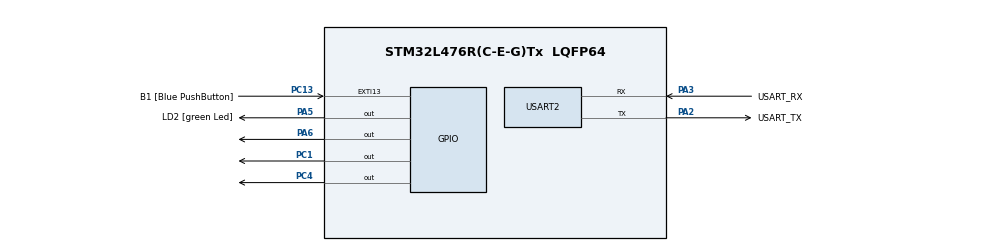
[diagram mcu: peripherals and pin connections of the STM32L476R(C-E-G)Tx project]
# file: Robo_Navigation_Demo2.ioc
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Dma.Request0=USART2_RX
Dma.USART2_RX.0.Direction=DMA_PERIPH_TO_MEMORY
Dma.USART2_RX.0.Instance=DMA1_Channel6
Dma.USART2_RX.0.MemDataAlignment=DMA_MDATAALIGN_BYTE
Dma.USART2_RX.0.MemInc=DMA_MINC_ENABLE
Dma.USART2_RX.0.Mode=DMA_CIRCULAR
Dma.USART2_RX.0.PeriphDataAlignment=DMA_PDATAALIGN_BYTE
Dma.USART2_RX.0.PeriphInc=DMA_PINC_DISABLE
Dma.USART2_RX.0.Priority=DMA_PRIORITY_LOW
Mcu.Family=STM32L4
Mcu.Name=STM32L476R(C-E-G)Tx
Mcu.Package=LQFP64
NVIC.DMA1_Channel6_IRQn=true\:0\:0\:false\:false\:true\:false\:true\:true
NVIC.PriorityGroup=NVIC_PRIORITYGROUP_4
NVIC.USART2_IRQn=true\:0\:0\:false\:false\:true\:true\:true\:true
PA13\ (JTMS-SWDIO).GPIO_Label=TMS
PA13\ (JTMS-SWDIO).Mode=Serial_Wire
PA13\ (JTMS-SWDIO).Signal=SYS_JTMS-SWDIO
PA14\ (JTCK-SWCLK).GPIO_Label=TCK
PA14\ (JTCK-SWCLK).Mode=Serial_Wire
PA14\ (JTCK-SWCLK).Signal=SYS_JTCK-SWCLK
PA2.GPIO_Label=USART_TX
PA2.GPIO_Mode=GPIO_MODE_AF_PP
PA2.GPIO_PuPd=GPIO_NOPULL
PA2.GPIO_Speed=GPIO_SPEED_FREQ_VERY_HIGH
PA2.Mode=Asynchronous
PA2.Signal=USART2_TX
PA3.GPIO_Label=USART_RX
PA3.GPIO_Mode=GPIO_MODE_AF_PP
PA3.GPIO_PuPd=GPIO_NOPULL
PA3.GPIO_Speed=GPIO_SPEED_FREQ_VERY_HIGH
PA3.Mode=Asynchronous
PA3.Signal=USART2_RX
PA5.GPIO_Label=LD2 [green Led]
PA5.GPIO_ModeDefaultOutputPP=GPIO_MODE_OUTPUT_PP
PA5.GPIO_PuPd=GPIO_NOPULL
PA5.GPIO_Speed=GPIO_SPEED_FREQ_LOW
PA5.Signal=GPIO_Output
PA6.Signal=GPIO_Output
PB3\ (JTDO-TRACESWO).GPIO_Label=SWO
PB3\ (JTDO-TRACESWO).Signal=SYS_JTDO-SWO
PC1.Signal=GPIO_Output
PC13.GPIO_Label=B1 [Blue PushButton]
PC13.GPIO_ModeDefaultEXTI=GPIO_MODE_IT_FALLING
PC13.GPIO_PuPd=GPIO_NOPULL
PC13.Signal=GPXTI13
PC14-OSC32_IN\ (PC14).Mode=LSE-External-Oscillator
PC14-OSC32_IN\ (PC14).Signal=RCC_OSC32_IN
PC15-OSC32_OUT\ (PC15).Mode=LSE-External-Oscillator
PC15-OSC32_OUT\ (PC15).Signal=RCC_OSC32_OUT
PC4.Signal=GPIO_Output
PH0-OSC_IN\ (PH0).Signal=RCC_OSC_IN
PH1-OSC_OUT\ (PH1).Signal=RCC_OSC_OUT
ProjectManager.HeapSize=0x200
ProjectManager.StackSize=0x400
ProjectManager.TargetToolchain=STM32CubeIDE
RCC.ADCFreq_Value=64000000
RCC.AHBFreq_Value=80000000
RCC.APB1Freq_Value=80000000
RCC.APB1TimFreq_Value=80000000
RCC.APB2Freq_Value=80000000
RCC.APB2TimFreq_Value=80000000
RCC.CortexFreq_Value=80000000
RCC.HCLKFreq_Value=80000000
RCC.HSE_VALUE=8000000
RCC.HSI_VALUE=16000000
RCC.MSI_VALUE=4000000
RCC.PLLN=10
RCC.PLLSourceVirtual=RCC_PLLSOURCE_HSI
RCC.PREFETCH_ENABLE=1
RCC.SYSCLKFreq_VALUE=80000000
RCC.SYSCLKSource=RCC_SYSCLKSOURCE_PLLCLK
RCC.USBFreq_Value=64000000
RCC.VCOOutputFreq_Value=160000000
TIM2.Prescaler=79
USART2.VirtualMode-Asynchronous=VM_ASYNC
VP_TIM2_VS_ClockSourceINT.Mode=Internal
board=NUCLEO-L476RG

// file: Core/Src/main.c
/* USER CODE BEGIN Header */
/**
 ******************************************************************************
 * @file           : main.c
 * @brief          : Main program body
 ******************************************************************************
 * @attention
 *
 * Copyright (c) 2025 STMicroelectronics.
 * All rights reserved.
 *
 * This software is licensed under terms that can be found in the LICENSE file
 * in the root directory of this software component.
 * If no LICENSE file comes with this software, it is provided AS-IS.
 *
 ******************************************************************************
 */
/* USER CODE END Header */
#include "main.h"
#include <stdio.h>

/* USER CODE BEGIN Includes */
// === UART DMA Constants ===
#define UART_RX_BUFFER_SIZE 256
#define LINE_BUFFER_SIZE 128

// === Buffers and State ===
uint8_t uart_dma_rx_buffer[UART_RX_BUFFER_SIZE];
char line_buffer[LINE_BUFFER_SIZE];
uint16_t line_pos = 0;
volatile uint16_t old_pos = 0;

// === Temporary Pin Definitions (to silence compiler) ===
#define AIN1 GPIO_PIN_1
#define BIN1 GPIO_PIN_4
#define STBY_Port GPIOA
#define STBY GPIO_PIN_6

// === External Peripherals (defined in auto-gen files) ===
extern UART_HandleTypeDef huart2;
extern TIM_HandleTypeDef htim2;

// === Optional Dummy Variable (for debug output) ===

/* USER CODE END Includes */

TIM_HandleTypeDef htim2;

UART_HandleTypeDef huart2;
DMA_HandleTypeDef hdma_usart2_rx;

/* USER CODE BEGIN PV */
float Kp = 1.5, Ki = 0.0, Kd = 0.2;
float prev_error = 0, integral = 0;
float target_distance = 100.0;   // Target distance in cm
float current_distance = 0.0;    // Measured UWB distance
float distance_tolerance = 5.0;  // Acceptable error
uint8_t uart_rx_buffer[100];     // UART receive buffer

int drove = 0;
int start = 1;
float start_pwm = 50;
float current_pwm = 0;
uint8_t txt_Buffer[100];
uint8_t rx_buffer [100];
uint8_t rx_index;
uint8_t rx_byte;
uint8_t transfer_clpt;
uint16_t new_pos;

/* USER CODE END PV */

void SystemClock_Config(void);
static void MX_GPIO_Init(void);
static void MX_DMA_Init(void);
static void MX_USART2_UART_Init(void);
static void MX_TIM2_Init(void);
/* USER CODE BEGIN PFP */
void print_debug(const char *msg);
void process_uart_data(void);
void parse_uart_block(uint8_t *data, uint16_t len);
void mainBegin(void);
void mainEnd(void);
void infiniteWhileLoop(void);
/* USER CODE END PFP */

/* USER CODE BEGIN 0 */
void print_debug(const char *msg) {
	HAL_UART_Transmit(&huart2, (uint8_t*) msg, strlen(msg), HAL_MAX_DELAY);
}

void mainBegin(void) {
	HAL_GPIO_WritePin(GPIOC, AIN1, GPIO_PIN_RESET);
	HAL_GPIO_WritePin(GPIOC, BIN1, GPIO_PIN_RESET);
	HAL_GPIO_WritePin(STBY_Port, STBY, GPIO_PIN_SET);
	HAL_TIM_PWM_Start(&htim2, TIM_CHANNEL_1);
	HAL_TIM_PWM_Start(&htim2, TIM_CHANNEL_3);
	__HAL_TIM_SET_COMPARE(&htim2, TIM_CHANNEL_1, 0);
	__HAL_TIM_SET_COMPARE(&htim2, TIM_CHANNEL_3, 0);
}

void mainEnd(void) {
	// placeholder
}

void infiniteWhileLoop(void) {
	process_uart_data();
}

void handle_button_press(uint16_t GPIO_Pin) {
	if (GPIO_Pin == GPIO_PIN_13 && start == 0) {
		start = 1;
		drove = 0;
		current_pwm = start_pwm;
	} else if (GPIO_Pin == GPIO_PIN_13 && start == 1) {
		start = 0;
		current_pwm = 0;
	}
}

int parse_uart_block(void) {
//    for (uint16_t i = 0; i < len; i++)
//    {
//        char c = data[i];
//
//        if (c == '\n') // End of message
//        {
//            line_buffer[line_pos] = '\0';
//
//            // Extract range value
//            char *start = strstr(line_buffer, "range:(");
//            if (start)
//            {
//                start += strlen("range:(");
//                int range_val = atoi(start);
//
//                // Print value to serial (adjust huart1 if needed)
//                char msg[64];
//                snprintf(msg, sizeof(msg), "Parsed Range: %d\r\n", range_val);
//                HAL_UART_Transmit(&huart2, (uint8_t*)msg, strlen(msg), HAL_MAX_DELAY);
//            }
//
//            line_pos = 0;  // Reset for next line
//        }
//        else if (line_pos < LINE_BUFFER_SIZE - 1)
//        {
//            line_buffer[line_pos++] = c;
//        }
//        else
//        {
//            // Line buffer overflow — reset
//            line_pos = 0;
//        }
//    }

	int result = 0;
	for (uint16_t i = 0; i < rx_index; i++) {
	if (rx_buffer[i] >= '0' && rx_buffer[i] <= '9') {
		result = result * 10 + (rx_buffer[i] - 0);
	} else if (rx_buffer[i] == '\n') {
		break;
	}
}
return result;
}

void process_uart_data(void) {
new_pos = UART_RX_BUFFER_SIZE - __HAL_DMA_GET_COUNTER(huart2.hdmarx);

if (new_pos != old_pos) {
	print_debug("Data received via DMA\r\n");  // <== Add this
//        sprintf(rx_data, sizeof(rx_data), "new pos: %u", new_pos);
//        HAL_UART_Transmit(&huart2, (uint8_t*)rx_data, strlen(rx_data), HAL_MAX_DELAY);

	if (new_pos > old_pos) {
		parse_uart_block(&uart_dma_rx_buffer[old_pos], new_pos - old_pos);
	} else {
		parse_uart_block(&uart_dma_rx_buffer[old_pos],
				UART_RX_BUFFER_SIZE - old_pos);
		if (new_pos > 0)
			parse_uart_block(&uart_dma_rx_buffer[0], new_pos);
	}

	old_pos = new_pos;
	if (old_pos >= UART_RX_BUFFER_SIZE)
		old_pos = 0;
}
}

/* USER CODE END 0 */

int main(void) {

/* USER CODE BEGIN 1 */
print_debug("DEBUG: System booted and UART is working.\r\n");

/* USER CODE END 1 */

/* Reset of all peripherals, Initializes the Flash interface and the Systick. */
HAL_Init();

/* Configure the system clock */
SystemClock_Config();

/* Initialize all configured peripherals */
MX_GPIO_Init();
MX_DMA_Init();
MX_USART2_UART_Init();
MX_TIM2_Init();
/* USER CODE BEGIN 2 */
HAL_UART_Receive_IT(&huart2, rx_data, 1);
mainBegin();  // Initialize motor pins and PWM
print_debug("DEBUG: System booted and UART is working.\r\n");
HAL_UART_Receive_DMA(&huart2, uart_dma_rx_buffer, UART_RX_BUFFER_SIZE);

mainEnd();
/* USER CODE END 2 */

/* Infinite loop */
/* USER CODE BEGIN WHILE */
while (1) {
	HAL_GPIO_TogglePin(GPIOA, GPIO_PIN_5);
	HAL_Delay(500);
	infiniteWhileLoop();  // Move PID loop logic into this function
	process_uart_data();  // ✅ NO arguments
	/* USER CODE END WHILE */

}
}

void SystemClock_Config(void) {
RCC_OscInitTypeDef RCC_OscInitStruct = { 0 };
RCC_ClkInitTypeDef RCC_ClkInitStruct = { 0 };

/** Configure the main internal regulator output voltage
 */
if (HAL_PWREx_ControlVoltageScaling(PWR_REGULATOR_VOLTAGE_SCALE1) != HAL_OK) {
	Error_Handler();
}

/** Initializes the RCC Oscillators according to the specified parameters
 * in the RCC_OscInitTypeDef structure.
 */
RCC_OscInitStruct.OscillatorType = RCC_OSCILLATORTYPE_HSI;
RCC_OscInitStruct.HSIState = RCC_HSI_ON;
RCC_OscInitStruct.HSICalibrationValue = RCC_HSICALIBRATION_DEFAULT;
RCC_OscInitStruct.PLL.PLLState = RCC_PLL_ON;
RCC_OscInitStruct.PLL.PLLSource = RCC_PLLSOURCE_HSI;
RCC_OscInitStruct.PLL.PLLM = 1;
RCC_OscInitStruct.PLL.PLLN = 10;
RCC_OscInitStruct.PLL.PLLP = RCC_PLLP_DIV7;
RCC_OscInitStruct.PLL.PLLQ = RCC_PLLQ_DIV2;
RCC_OscInitStruct.PLL.PLLR = RCC_PLLR_DIV2;
if (HAL_RCC_OscConfig(&RCC_OscInitStruct) != HAL_OK) {
	Error_Handler();
}

/** Initializes the CPU, AHB and APB buses clocks
 */
RCC_ClkInitStruct.ClockType = RCC_CLOCKTYPE_HCLK | RCC_CLOCKTYPE_SYSCLK
		| RCC_CLOCKTYPE_PCLK1 | RCC_CLOCKTYPE_PCLK2;
RCC_ClkInitStruct.SYSCLKSource = RCC_SYSCLKSOURCE_PLLCLK;
RCC_ClkInitStruct.AHBCLKDivider = RCC_SYSCLK_DIV1;
RCC_ClkInitStruct.APB1CLKDivider = RCC_HCLK_DIV1;
RCC_ClkInitStruct.APB2CLKDivider = RCC_HCLK_DIV1;

if (HAL_RCC_ClockConfig(&RCC_ClkInitStruct, FLASH_LATENCY_4) != HAL_OK) {
	Error_Handler();
}
}

static void MX_TIM2_Init(void) {

TIM_ClockConfigTypeDef sClockSourceConfig = { 0 };
TIM_MasterConfigTypeDef sMasterConfig = { 0 };

htim2.Instance = TIM2;
htim2.Init.Prescaler = 79;
htim2.Init.CounterMode = TIM_COUNTERMODE_UP;
htim2.Init.Period = 4294967295;
htim2.Init.ClockDivision = TIM_CLOCKDIVISION_DIV1;
htim2.Init.AutoReloadPreload = TIM_AUTORELOAD_PRELOAD_DISABLE;
if (HAL_TIM_Base_Init(&htim2) != HAL_OK) {
	Error_Handler();
}
sClockSourceConfig.ClockSource = TIM_CLOCKSOURCE_INTERNAL;
if (HAL_TIM_ConfigClockSource(&htim2, &sClockSourceConfig) != HAL_OK) {
	Error_Handler();
}
sMasterConfig.MasterOutputTrigger = TIM_TRGO_RESET;
sMasterConfig.MasterSlaveMode = TIM_MASTERSLAVEMODE_DISABLE;
if (HAL_TIMEx_MasterConfigSynchronization(&htim2, &sMasterConfig) != HAL_OK) {
	Error_Handler();
}

}

static void MX_USART2_UART_Init(void) {

huart2.Instance = USART2;
huart2.Init.BaudRate = 115200;
huart2.Init.WordLength = UART_WORDLENGTH_8B;
huart2.Init.StopBits = UART_STOPBITS_1;
huart2.Init.Parity = UART_PARITY_NONE;
huart2.Init.Mode = UART_MODE_TX_RX;
huart2.Init.HwFlowCtl = UART_HWCONTROL_NONE;
huart2.Init.OverSampling = UART_OVERSAMPLING_16;
huart2.Init.OneBitSampling = UART_ONE_BIT_SAMPLE_DISABLE;
huart2.AdvancedInit.AdvFeatureInit = UART_ADVFEATURE_NO_INIT;
if (HAL_UART_Init(&huart2) != HAL_OK) {
	Error_Handler();
}

}

static void MX_DMA_Init(void) {

/* DMA controller clock enable */
__HAL_RCC_DMA1_CLK_ENABLE();

/* DMA interrupt init */
/* DMA1_Channel6_IRQn interrupt configuration */
HAL_NVIC_SetPriority(DMA1_Channel6_IRQn, 0, 0);
HAL_NVIC_EnableIRQ(DMA1_Channel6_IRQn);

}

static void MX_GPIO_Init(void) {
GPIO_InitTypeDef GPIO_InitStruct = { 0 };

/* GPIO Ports Clock Enable */
__HAL_RCC_GPIOC_CLK_ENABLE();
__HAL_RCC_GPIOH_CLK_ENABLE();
__HAL_RCC_GPIOA_CLK_ENABLE();
__HAL_RCC_GPIOB_CLK_ENABLE();

/*Configure GPIO pin Output Level */
HAL_GPIO_WritePin(GPIOC, GPIO_PIN_1 | GPIO_PIN_4, GPIO_PIN_RESET);

/*Configure GPIO pin Output Level */
HAL_GPIO_WritePin(GPIOA, LD2_Pin | GPIO_PIN_6, GPIO_PIN_RESET);

/*Configure GPIO pin : B1_Pin */
GPIO_InitStruct.Pin = B1_Pin;
GPIO_InitStruct.Mode = GPIO_MODE_IT_FALLING;
GPIO_InitStruct.Pull = GPIO_NOPULL;
HAL_GPIO_Init(B1_GPIO_Port, &GPIO_InitStruct);

/*Configure GPIO pins : PC1 PC4 */
GPIO_InitStruct.Pin = GPIO_PIN_1 | GPIO_PIN_4;
GPIO_InitStruct.Mode = GPIO_MODE_OUTPUT_PP;
GPIO_InitStruct.Pull = GPIO_NOPULL;
GPIO_InitStruct.Speed = GPIO_SPEED_FREQ_LOW;
HAL_GPIO_Init(GPIOC, &GPIO_InitStruct);

/*Configure GPIO pins : LD2_Pin PA6 */
GPIO_InitStruct.Pin = LD2_Pin | GPIO_PIN_6;
GPIO_InitStruct.Mode = GPIO_MODE_OUTPUT_PP;
GPIO_InitStruct.Pull = GPIO_NOPULL;
GPIO_InitStruct.Speed = GPIO_SPEED_FREQ_LOW;
HAL_GPIO_Init(GPIOA, &GPIO_InitStruct);

}

/* USER CODE BEGIN 4 */

void HAL_GPIO_EXTI_Callback(uint16_t GPIO_Pin) {
if (GPIO_Pin == GPIO_PIN_13) {
	print_debug("Button pressed!\r\n");
	handle_button_press(GPIO_Pin);
}
}

void HAL_UART_RxCpltCallback(UART_HandleTypeDef *huart) {
if (huart->Instance == USART2) {
	if (rx_index < 100) {
		rx_buffer[rx_index++] = rx_data[0];
	}
	HAL_UART_Receive_IT(&huart2, rx_data, 1);
}

}
/* USER CODE END 4 */

void Error_Handler(void) {
__disable_irq();
while (1) {
}
}
